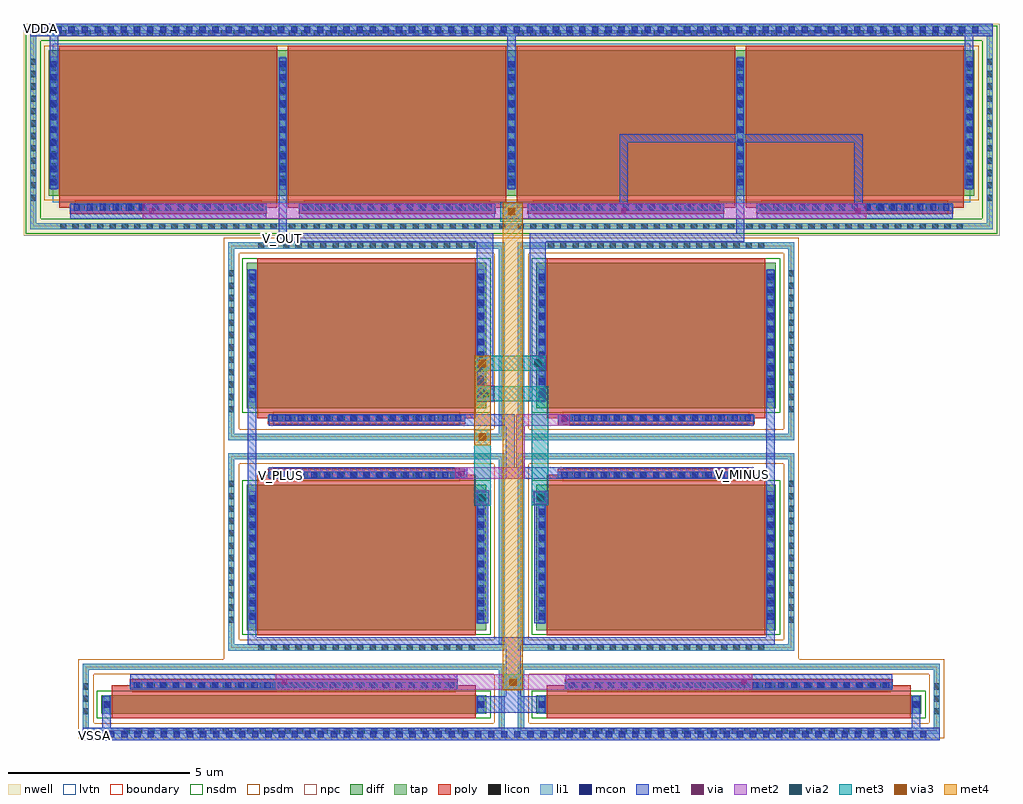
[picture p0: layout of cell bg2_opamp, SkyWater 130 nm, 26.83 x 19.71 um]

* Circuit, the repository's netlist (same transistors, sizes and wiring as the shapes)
* SPICE3 file created from bg2_opamp_lvs.ext - technology: sky130A

X0 vb vb VDDA VDDA sky130_fd_pr__pfet_01v8_lvt ad=1.16 pd=8.58 as=1.16 ps=8.58 w=4 l=6
X1 VDDA vb V_OUT VDDA sky130_fd_pr__pfet_01v8_lvt ad=3.48003 pd=25.745 as=1.16003 ps=8.585 w=4 l=6
X2 V_OUT vb VDDA VDDA sky130_fd_pr__pfet_01v8_lvt ad=1.16 pd=8.58 as=1.16 ps=8.58 w=4 l=6
X3 vb V_PLUS vs VSSA sky130_fd_pr__nfet_01v8 ad=1.16 pd=8.58 as=1.16 ps=8.58 w=4 l=6
X4 vs V_PLUS vb VSSA sky130_fd_pr__nfet_01v8 ad=1.16 pd=8.58 as=1.16 ps=8.58 w=4 l=6
X5 VDDA vb vb VDDA sky130_fd_pr__pfet_01v8_lvt ad=1.16 pd=8.58 as=1.16 ps=8.58 w=4 l=6
X6 V_OUT V_MINUS vs VSSA sky130_fd_pr__nfet_01v8 ad=1.16 pd=8.58 as=1.16 ps=8.58 w=4 l=6
X7 vs V_MINUS V_OUT VSSA sky130_fd_pr__nfet_01v8 ad=1.16 pd=8.58 as=1.16 ps=8.58 w=4 l=6
X8 VSSA vb vs VSSA sky130_fd_pr__nfet_01v8 ad=0.145 pd=1.58 as=0.145 ps=1.58 w=0.5 l=10
X9 vs vb VSSA VSSA sky130_fd_pr__nfet_01v8 ad=0.145 pd=1.58 as=0.145 ps=1.58 w=0.5 l=10

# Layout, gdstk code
import gdstk
lib = gdstk.Library(unit=1e-6, precision=1e-09)
def R(c, l, rs):  # rectangles x0, y0, x1, y1
    for r in rs: c.add(gdstk.rectangle(r[:2], r[2:], *l))
def A(c, l, x, y, w, h, nx, ny, dx, dy):  # array of equal rectangles
    R(c, l, [(x+i*dx, y+j*dy, x+i*dx+w, y+j*dy+h) for i in range(nx) for j in range(ny)])
nwell = (64, 20)
diff = (65, 20)
tap = (65, 44)
poly = (66, 20)
licon = (66, 44)
li1 = (67, 20)
mcon = (67, 44)
met1 = (68, 20)
via = (68, 44)
met2 = (69, 20)
via2 = (69, 44)
met3 = (70, 20)
via3 = (70, 44)
met4 = (71, 20)
nsdm = (93, 44)
psdm = (94, 20)
npc = (95, 20)
lvtn = (125, 44)
boundary = (235, 4)

sky130_fd_pr__nfet_01v8_ = lib.new_cell('sky130_fd_pr__nfet_01v8_ETYVHX')
R(sky130_fd_pr__nfet_01v8_, diff, [(-5.29,-0.405,5.29,0.095)])
R(sky130_fd_pr__nfet_01v8_, tap, [(-5.8,-0.965,5.8,-0.795), (-5.8,-0.795,-5.63,0.795), (5.63,-0.795,5.8,0.795), (-5.8,0.795,5.8,0.965)])
R(sky130_fd_pr__nfet_01v8_, poly, [(-5,-0.535,5,0.37), (-4.51,0.37,4.51,0.535)])
A(sky130_fd_pr__nfet_01v8_, licon, -4.675, -0.965, 0.17, 0.17, 28, 1, 0.34, 0)
A(sky130_fd_pr__nfet_01v8_, licon, -5.8, -0.425, 0.17, 0.17, 1, 3, 0, 0.34)
A(sky130_fd_pr__nfet_01v8_, licon, -4.335, 0.285, 0.17, 0.17, 26, 1, 0.34, 0)
R(sky130_fd_pr__nfet_01v8_, licon, [(-5.23,-0.24,-5.06,-0.07), (5.06,-0.24,5.23,-0.07)])
R(sky130_fd_pr__nfet_01v8_, li1, [(-5.8,-0.965,5.8,-0.795), (-5.8,-0.795,-5.63,0.795), (5.63,-0.795,5.8,0.795), (-5.23,-0.405,-5.06,0.095), (5.06,-0.405,5.23,0.095), (-4.51,0.285,4.51,0.455), (-5.8,0.795,5.8,0.965)])
A(sky130_fd_pr__nfet_01v8_, mcon, -4.405, 0.285, 0.17, 0.17, 25, 1, 0.36, 0)
R(sky130_fd_pr__nfet_01v8_, mcon, [(-5.23,-0.24,-5.06,-0.07), (5.06,-0.24,5.23,-0.07)])
R(sky130_fd_pr__nfet_01v8_, met1, [(-5.26,-0.385,-5.03,0.075), (5.03,-0.385,5.26,0.075), (-4.49,0.255,4.49,0.485)])
R(sky130_fd_pr__nfet_01v8_, nsdm, [(-5.415,-0.53,5.415,0.22)])
R(sky130_fd_pr__nfet_01v8_, psdm, [(-5.925,-1.09,5.925,-0.67), (-5.925,-0.67,-5.505,0.67), (5.505,-0.67,5.925,0.67), (-5.925,0.67,5.925,1.09)])
R(sky130_fd_pr__nfet_01v8_, npc, [(-4.435,0.185,4.435,0.555)])
R(sky130_fd_pr__nfet_01v8_, boundary, [(-5.715,-0.88,5.715,0.88)])
sky130_fd_pr__nfet_01v8_.add(gdstk.Label('B', (0,-0.88), layer=67, texttype=5))
sky130_fd_pr__nfet_01v8_.add(gdstk.Label('D', (-5.145,-0.155), layer=67, texttype=5))
sky130_fd_pr__nfet_01v8_.add(gdstk.Label('S', (5.145,-0.155), layer=67, texttype=5))
sky130_fd_pr__nfet_01v8_.add(gdstk.Label('G', (0,0.37), layer=67, texttype=5))

c_sky130_fd_pr__nfet_01v8_ = lib.new_cell('sky130_fd_pr__nfet_01v8_WJUKTK')
R(c_sky130_fd_pr__nfet_01v8_, diff, [(-3.29,-2.155,3.29,1.845)])
R(c_sky130_fd_pr__nfet_01v8_, tap, [(-3.8,-2.715,3.8,-2.545), (-3.8,-2.545,-3.63,2.545), (3.63,-2.545,3.8,2.545), (-3.8,2.545,3.8,2.715)])
R(c_sky130_fd_pr__nfet_01v8_, poly, [(-3,-2.285,3,2.12), (-2.71,2.12,2.71,2.285)])
A(c_sky130_fd_pr__nfet_01v8_, licon, -2.975, -2.715, 0.17, 0.17, 18, 1, 0.34, 0)
A(c_sky130_fd_pr__nfet_01v8_, licon, -3.8, -1.955, 0.17, 0.17, 1, 12, 0, 0.34)
A(c_sky130_fd_pr__nfet_01v8_, licon, -3.23, -1.77, 0.17, 0.17, 1, 10, 0, 0.34)
A(c_sky130_fd_pr__nfet_01v8_, licon, 3.06, -1.77, 0.17, 0.17, 1, 10, 0, 0.34)
A(c_sky130_fd_pr__nfet_01v8_, licon, -2.465, 2.035, 0.17, 0.17, 15, 1, 0.34, 0)
R(c_sky130_fd_pr__nfet_01v8_, li1, [(-3.8,-2.715,3.8,-2.545), (-3.8,-2.545,-3.63,2.545), (3.63,-2.545,3.8,2.545), (-3.23,-1.98,-3.06,1.67), (3.06,-1.98,3.23,1.67), (-2.71,2.035,2.71,2.205), (-3.8,2.545,3.8,2.715)])
A(c_sky130_fd_pr__nfet_01v8_, mcon, -3.23, -1.86, 0.17, 0.17, 1, 10, 0, 0.36)
A(c_sky130_fd_pr__nfet_01v8_, mcon, 3.06, -1.86, 0.17, 0.17, 1, 10, 0, 0.36)
A(c_sky130_fd_pr__nfet_01v8_, mcon, -2.605, 2.035, 0.17, 0.17, 15, 1, 0.36, 0)
R(c_sky130_fd_pr__nfet_01v8_, met1, [(-3.26,-1.96,-3.03,1.65), (3.03,-1.96,3.26,1.65), (-2.69,2.005,2.69,2.235)])
R(c_sky130_fd_pr__nfet_01v8_, nsdm, [(-3.415,-2.28,3.415,1.97)])
R(c_sky130_fd_pr__nfet_01v8_, psdm, [(-3.925,-2.84,3.925,-2.42), (-3.925,-2.42,-3.505,2.42), (3.505,-2.42,3.925,2.42), (-3.925,2.42,3.925,2.84)])
R(c_sky130_fd_pr__nfet_01v8_, npc, [(-2.565,1.935,2.565,2.305)])
R(c_sky130_fd_pr__nfet_01v8_, boundary, [(-3.715,-2.63,3.715,2.63)])
c_sky130_fd_pr__nfet_01v8_.add(gdstk.Label('B', (0,-2.63), layer=67, texttype=5))
c_sky130_fd_pr__nfet_01v8_.add(gdstk.Label('D', (-3.145,-0.155), layer=67, texttype=5))
c_sky130_fd_pr__nfet_01v8_.add(gdstk.Label('S', (3.145,-0.155), layer=67, texttype=5))
c_sky130_fd_pr__nfet_01v8_.add(gdstk.Label('G', (0,2.12), layer=67, texttype=5))

c_sky130_fd_pr__nfet_01v8__ = lib.new_cell('sky130_fd_pr__nfet_01v8_4D5ERS')
R(c_sky130_fd_pr__nfet_01v8__, diff, [(-5.29,-0.405,5.29,0.095)])
R(c_sky130_fd_pr__nfet_01v8__, tap, [(-5.8,-0.965,5.8,-0.795), (-5.8,-0.795,-5.63,0.795), (5.63,-0.795,5.8,0.795), (-5.8,0.795,5.8,0.965)])
R(c_sky130_fd_pr__nfet_01v8__, poly, [(-5,-0.535,5,0.37), (-4.51,0.37,4.51,0.535)])
A(c_sky130_fd_pr__nfet_01v8__, licon, -4.675, -0.965, 0.17, 0.17, 28, 1, 0.34, 0)
A(c_sky130_fd_pr__nfet_01v8__, licon, 5.63, -0.425, 0.17, 0.17, 1, 3, 0, 0.34)
A(c_sky130_fd_pr__nfet_01v8__, licon, -4.335, 0.285, 0.17, 0.17, 26, 1, 0.34, 0)
R(c_sky130_fd_pr__nfet_01v8__, licon, [(-5.23,-0.24,-5.06,-0.07), (5.06,-0.24,5.23,-0.07)])
R(c_sky130_fd_pr__nfet_01v8__, li1, [(-5.8,-0.965,5.8,-0.795), (-5.8,-0.795,-5.63,0.795), (5.63,-0.795,5.8,0.795), (-5.23,-0.405,-5.06,0.095), (5.06,-0.405,5.23,0.095), (-4.51,0.285,4.51,0.455), (-5.8,0.795,5.8,0.965)])
A(c_sky130_fd_pr__nfet_01v8__, mcon, -4.405, 0.285, 0.17, 0.17, 25, 1, 0.36, 0)
R(c_sky130_fd_pr__nfet_01v8__, mcon, [(-5.23,-0.24,-5.06,-0.07), (5.06,-0.24,5.23,-0.07)])
R(c_sky130_fd_pr__nfet_01v8__, met1, [(-5.26,-0.385,-5.03,0.075), (5.03,-0.385,5.26,0.075), (-4.49,0.255,4.49,0.485)])
R(c_sky130_fd_pr__nfet_01v8__, nsdm, [(-5.415,-0.53,5.415,0.22)])
R(c_sky130_fd_pr__nfet_01v8__, psdm, [(-5.925,-1.09,5.925,-0.67), (-5.925,-0.67,-5.505,0.67), (5.505,-0.67,5.925,0.67), (-5.925,0.67,5.925,1.09)])
R(c_sky130_fd_pr__nfet_01v8__, npc, [(-4.435,0.185,4.435,0.555)])
R(c_sky130_fd_pr__nfet_01v8__, boundary, [(-5.715,-0.88,5.715,0.88)])
c_sky130_fd_pr__nfet_01v8__.add(gdstk.Label('B', (0,-0.88), layer=67, texttype=5))
c_sky130_fd_pr__nfet_01v8__.add(gdstk.Label('D', (-5.145,-0.155), layer=67, texttype=5))
c_sky130_fd_pr__nfet_01v8__.add(gdstk.Label('S', (5.145,-0.155), layer=67, texttype=5))
c_sky130_fd_pr__nfet_01v8__.add(gdstk.Label('G', (0,0.37), layer=67, texttype=5))

c_sky130_fd_pr__nfet_01v8___ = lib.new_cell('sky130_fd_pr__nfet_01v8_BSBCF3')
R(c_sky130_fd_pr__nfet_01v8___, diff, [(-3.29,-2.155,3.29,1.845)])
R(c_sky130_fd_pr__nfet_01v8___, tap, [(-3.8,-2.715,3.8,-2.545), (-3.8,-2.545,-3.63,2.545), (3.63,-2.545,3.8,2.545), (-3.8,2.545,3.8,2.715)])
R(c_sky130_fd_pr__nfet_01v8___, poly, [(-3,-2.285,3,2.12), (-2.71,2.12,2.71,2.285)])
A(c_sky130_fd_pr__nfet_01v8___, licon, -2.975, -2.715, 0.17, 0.17, 18, 1, 0.34, 0)
A(c_sky130_fd_pr__nfet_01v8___, licon, 3.63, -1.955, 0.17, 0.17, 1, 12, 0, 0.34)
A(c_sky130_fd_pr__nfet_01v8___, licon, -3.23, -1.77, 0.17, 0.17, 1, 10, 0, 0.34)
A(c_sky130_fd_pr__nfet_01v8___, licon, 3.06, -1.77, 0.17, 0.17, 1, 10, 0, 0.34)
A(c_sky130_fd_pr__nfet_01v8___, licon, -2.465, 2.035, 0.17, 0.17, 15, 1, 0.34, 0)
R(c_sky130_fd_pr__nfet_01v8___, li1, [(-3.8,-2.715,3.8,-2.545), (-3.8,-2.545,-3.63,2.545), (3.63,-2.545,3.8,2.545), (-3.23,-1.98,-3.06,1.67), (3.06,-1.98,3.23,1.67), (-2.71,2.035,2.71,2.205), (-3.8,2.545,3.8,2.715)])
A(c_sky130_fd_pr__nfet_01v8___, mcon, -3.23, -1.86, 0.17, 0.17, 1, 10, 0, 0.36)
A(c_sky130_fd_pr__nfet_01v8___, mcon, 3.06, -1.86, 0.17, 0.17, 1, 10, 0, 0.36)
A(c_sky130_fd_pr__nfet_01v8___, mcon, -2.605, 2.035, 0.17, 0.17, 15, 1, 0.36, 0)
R(c_sky130_fd_pr__nfet_01v8___, met1, [(-3.26,-1.96,-3.03,1.65), (3.03,-1.96,3.26,1.65), (-2.69,2.005,2.69,2.235)])
R(c_sky130_fd_pr__nfet_01v8___, nsdm, [(-3.415,-2.28,3.415,1.97)])
R(c_sky130_fd_pr__nfet_01v8___, psdm, [(-3.925,-2.84,3.925,-2.42), (-3.925,-2.42,-3.505,2.42), (3.505,-2.42,3.925,2.42), (-3.925,2.42,3.925,2.84)])
R(c_sky130_fd_pr__nfet_01v8___, npc, [(-2.565,1.935,2.565,2.305)])
R(c_sky130_fd_pr__nfet_01v8___, boundary, [(-3.715,-2.63,3.715,2.63)])
c_sky130_fd_pr__nfet_01v8___.add(gdstk.Label('B', (0,-2.63), layer=67, texttype=5))
c_sky130_fd_pr__nfet_01v8___.add(gdstk.Label('D', (-3.145,-0.155), layer=67, texttype=5))
c_sky130_fd_pr__nfet_01v8___.add(gdstk.Label('S', (3.145,-0.155), layer=67, texttype=5))
c_sky130_fd_pr__nfet_01v8___.add(gdstk.Label('G', (0,2.12), layer=67, texttype=5))

c_sky130_fd_pr__nfet_01v8____ = lib.new_cell('sky130_fd_pr__nfet_01v8_62AQFM')
R(c_sky130_fd_pr__nfet_01v8____, diff, [(-3.29,-1.845,3.29,2.155)])
R(c_sky130_fd_pr__nfet_01v8____, tap, [(-3.8,-2.715,3.8,-2.545), (-3.8,-2.545,-3.63,2.545), (3.63,-2.545,3.8,2.545), (-3.8,2.545,3.8,2.715)])
R(c_sky130_fd_pr__nfet_01v8____, poly, [(-2.71,-2.285,2.71,-2.12), (-3,-2.12,3,2.285)])
A(c_sky130_fd_pr__nfet_01v8____, licon, -2.465, -2.205, 0.17, 0.17, 15, 1, 0.34, 0)
A(c_sky130_fd_pr__nfet_01v8____, licon, -3.8, -1.955, 0.17, 0.17, 1, 12, 0, 0.34)
A(c_sky130_fd_pr__nfet_01v8____, licon, -3.23, -1.46, 0.17, 0.17, 1, 10, 0, 0.34)
A(c_sky130_fd_pr__nfet_01v8____, licon, 3.06, -1.46, 0.17, 0.17, 1, 10, 0, 0.34)
A(c_sky130_fd_pr__nfet_01v8____, licon, -2.975, 2.545, 0.17, 0.17, 18, 1, 0.34, 0)
R(c_sky130_fd_pr__nfet_01v8____, li1, [(-3.8,-2.715,3.8,-2.545), (-3.8,-2.545,-3.63,2.545), (3.63,-2.545,3.8,2.545), (-2.71,-2.205,2.71,-2.035), (-3.23,-1.67,-3.06,1.98), (3.06,-1.67,3.23,1.98), (-3.8,2.545,3.8,2.715)])
A(c_sky130_fd_pr__nfet_01v8____, mcon, -2.605, -2.205, 0.17, 0.17, 15, 1, 0.36, 0)
A(c_sky130_fd_pr__nfet_01v8____, mcon, -3.23, -1.55, 0.17, 0.17, 1, 10, 0, 0.36)
A(c_sky130_fd_pr__nfet_01v8____, mcon, 3.06, -1.55, 0.17, 0.17, 1, 10, 0, 0.36)
R(c_sky130_fd_pr__nfet_01v8____, met1, [(-2.69,-2.235,2.69,-2.005), (-3.26,-1.65,-3.03,1.96), (3.03,-1.65,3.26,1.96)])
R(c_sky130_fd_pr__nfet_01v8____, nsdm, [(-3.415,-1.97,3.415,2.28)])
R(c_sky130_fd_pr__nfet_01v8____, psdm, [(-3.925,-2.84,3.925,-2.42), (-3.925,-2.42,-3.505,2.42), (3.505,-2.42,3.925,2.42), (-3.925,2.42,3.925,2.84)])
R(c_sky130_fd_pr__nfet_01v8____, npc, [(-2.565,-2.305,2.565,-1.935)])
R(c_sky130_fd_pr__nfet_01v8____, boundary, [(-3.715,-2.63,3.715,2.63)])
c_sky130_fd_pr__nfet_01v8____.add(gdstk.Label('B', (0,-2.63), layer=65, texttype=5))
c_sky130_fd_pr__nfet_01v8____.add(gdstk.Label('D', (-3.145,0.155), layer=67, texttype=5))
c_sky130_fd_pr__nfet_01v8____.add(gdstk.Label('S', (3.145,0.155), layer=67, texttype=5))
c_sky130_fd_pr__nfet_01v8____.add(gdstk.Label('G', (0,-2.12), layer=67, texttype=5))

c_sky130_fd_pr__nfet_01v8_____ = lib.new_cell('sky130_fd_pr__nfet_01v8_Y4G2KK')
R(c_sky130_fd_pr__nfet_01v8_____, diff, [(-3.29,-1.845,3.29,2.155)])
R(c_sky130_fd_pr__nfet_01v8_____, tap, [(-3.8,-2.715,3.8,-2.545), (-3.8,-2.545,-3.63,2.545), (3.63,-2.545,3.8,2.545), (-3.8,2.545,3.8,2.715)])
R(c_sky130_fd_pr__nfet_01v8_____, poly, [(-2.71,-2.285,2.71,-2.12), (-3,-2.12,3,2.285)])
A(c_sky130_fd_pr__nfet_01v8_____, licon, -2.465, -2.205, 0.17, 0.17, 15, 1, 0.34, 0)
A(c_sky130_fd_pr__nfet_01v8_____, licon, 3.63, -1.955, 0.17, 0.17, 1, 12, 0, 0.34)
A(c_sky130_fd_pr__nfet_01v8_____, licon, -3.23, -1.46, 0.17, 0.17, 1, 10, 0, 0.34)
A(c_sky130_fd_pr__nfet_01v8_____, licon, 3.06, -1.46, 0.17, 0.17, 1, 10, 0, 0.34)
A(c_sky130_fd_pr__nfet_01v8_____, licon, -2.975, 2.545, 0.17, 0.17, 18, 1, 0.34, 0)
R(c_sky130_fd_pr__nfet_01v8_____, li1, [(-3.8,-2.715,3.8,-2.545), (-3.8,-2.545,-3.63,2.545), (3.63,-2.545,3.8,2.545), (-2.71,-2.205,2.71,-2.035), (-3.23,-1.67,-3.06,1.98), (3.06,-1.67,3.23,1.98), (-3.8,2.545,3.8,2.715)])
A(c_sky130_fd_pr__nfet_01v8_____, mcon, -2.605, -2.205, 0.17, 0.17, 15, 1, 0.36, 0)
A(c_sky130_fd_pr__nfet_01v8_____, mcon, -3.23, -1.55, 0.17, 0.17, 1, 10, 0, 0.36)
A(c_sky130_fd_pr__nfet_01v8_____, mcon, 3.06, -1.55, 0.17, 0.17, 1, 10, 0, 0.36)
R(c_sky130_fd_pr__nfet_01v8_____, met1, [(-2.69,-2.235,2.69,-2.005), (-3.26,-1.65,-3.03,1.96), (3.03,-1.65,3.26,1.96)])
R(c_sky130_fd_pr__nfet_01v8_____, nsdm, [(-3.415,-1.97,3.415,2.28)])
R(c_sky130_fd_pr__nfet_01v8_____, psdm, [(-3.925,-2.84,3.925,-2.42), (-3.925,-2.42,-3.505,2.42), (3.505,-2.42,3.925,2.42), (-3.925,2.42,3.925,2.84)])
R(c_sky130_fd_pr__nfet_01v8_____, npc, [(-2.565,-2.305,2.565,-1.935)])
R(c_sky130_fd_pr__nfet_01v8_____, boundary, [(-3.715,-2.63,3.715,2.63)])
c_sky130_fd_pr__nfet_01v8_____.add(gdstk.Label('B', (0,-2.63), layer=65, texttype=5))
c_sky130_fd_pr__nfet_01v8_____.add(gdstk.Label('D', (-3.145,0.155), layer=67, texttype=5))
c_sky130_fd_pr__nfet_01v8_____.add(gdstk.Label('S', (3.145,0.155), layer=67, texttype=5))
c_sky130_fd_pr__nfet_01v8_____.add(gdstk.Label('G', (0,-2.12), layer=67, texttype=5))

sky130_fd_pr__pfet_01v8_ = lib.new_cell('sky130_fd_pr__pfet_01v8_lvt_M3C57C')
R(sky130_fd_pr__pfet_01v8_, nwell, [(-3.98,-2.92,3.29,2.92)])
R(sky130_fd_pr__pfet_01v8_, diff, [(-3.29,-1.82,3.29,2.18)])
R(sky130_fd_pr__pfet_01v8_, tap, [(-3.8,-2.74,3.29,-2.57), (-3.8,-2.57,-3.63,2.57), (-3.8,2.57,3.29,2.74)])
R(sky130_fd_pr__pfet_01v8_, poly, [(-2.71,-2.305,2.71,-2.14), (-3,-2.14,3,2.31)])
A(sky130_fd_pr__pfet_01v8_, licon, -2.975, -2.74, 0.17, 0.17, 18, 2, 0.34, 5.31)
A(sky130_fd_pr__pfet_01v8_, licon, -2.465, -2.225, 0.17, 0.17, 15, 1, 0.34, 0)
A(sky130_fd_pr__pfet_01v8_, licon, -3.8, -1.955, 0.17, 0.17, 1, 12, 0, 0.34)
A(sky130_fd_pr__pfet_01v8_, licon, -3.23, -1.435, 0.17, 0.17, 1, 10, 0, 0.34)
A(sky130_fd_pr__pfet_01v8_, licon, 3.06, -1.435, 0.17, 0.17, 1, 10, 0, 0.34)
R(sky130_fd_pr__pfet_01v8_, li1, [(-3.8,-2.74,3.29,-2.57), (-3.8,-2.57,-3.63,2.57), (-2.71,-2.225,2.71,-2.055), (-3.23,-1.645,-3.06,2.005), (3.06,-1.645,3.23,2.005), (-3.8,2.57,3.29,2.74)])
A(sky130_fd_pr__pfet_01v8_, mcon, -2.605, -2.225, 0.17, 0.17, 15, 1, 0.36, 0)
A(sky130_fd_pr__pfet_01v8_, mcon, -3.23, -1.525, 0.17, 0.17, 1, 10, 0, 0.36)
A(sky130_fd_pr__pfet_01v8_, mcon, 3.06, -1.525, 0.17, 0.17, 1, 10, 0, 0.36)
R(sky130_fd_pr__pfet_01v8_, met1, [(-2.69,-2.255,2.69,-2.025), (-3.26,-1.625,-3.03,1.985), (3.03,-1.625,3.26,1.985)])
R(sky130_fd_pr__pfet_01v8_, nsdm, [(-3.925,-2.865,3.415,-2.445), (-3.925,-2.445,-3.505,2.445), (-3.925,2.445,3.415,2.865)])
R(sky130_fd_pr__pfet_01v8_, psdm, [(-3.415,-1.945,3.415,2.305)])
R(sky130_fd_pr__pfet_01v8_, npc, [(-2.565,-2.325,2.565,-1.955)])
R(sky130_fd_pr__pfet_01v8_, lvtn, [(-3.18,-2,3.18,2.36)])
R(sky130_fd_pr__pfet_01v8_, boundary, [(-3.715,-2.655,3.715,2.655)])
sky130_fd_pr__pfet_01v8_.add(gdstk.Label('B', (0,-2.655), layer=67, texttype=5))
sky130_fd_pr__pfet_01v8_.add(gdstk.Label('D', (-3.145,0.18), layer=67, texttype=5))
sky130_fd_pr__pfet_01v8_.add(gdstk.Label('S', (3.145,0.18), layer=67, texttype=5))
sky130_fd_pr__pfet_01v8_.add(gdstk.Label('G', (0,-2.14), layer=67, texttype=5))

c_sky130_fd_pr__pfet_01v8_ = lib.new_cell('sky130_fd_pr__pfet_01v8_lvt_ZZFS9H')
R(c_sky130_fd_pr__pfet_01v8_, nwell, [(-3.29,-2.92,3.29,2.92)])
R(c_sky130_fd_pr__pfet_01v8_, diff, [(-3.29,-1.82,3.29,2.18)])
R(c_sky130_fd_pr__pfet_01v8_, tap, [(-3.29,-2.74,3.29,-2.57), (-3.29,2.57,3.29,2.74)])
R(c_sky130_fd_pr__pfet_01v8_, poly, [(-2.71,-2.305,2.71,-2.14), (-3,-2.14,3,2.31)])
A(c_sky130_fd_pr__pfet_01v8_, licon, -2.975, -2.74, 0.17, 0.17, 18, 2, 0.34, 5.31)
A(c_sky130_fd_pr__pfet_01v8_, licon, -2.465, -2.225, 0.17, 0.17, 15, 1, 0.34, 0)
A(c_sky130_fd_pr__pfet_01v8_, licon, -3.23, -1.435, 0.17, 0.17, 1, 10, 0, 0.34)
A(c_sky130_fd_pr__pfet_01v8_, licon, 3.06, -1.435, 0.17, 0.17, 1, 10, 0, 0.34)
R(c_sky130_fd_pr__pfet_01v8_, li1, [(-3.29,-2.74,3.29,-2.57), (-2.71,-2.225,2.71,-2.055), (-3.23,-1.645,-3.06,2.005), (3.06,-1.645,3.23,2.005), (-3.29,2.57,3.29,2.74)])
A(c_sky130_fd_pr__pfet_01v8_, mcon, -2.605, -2.225, 0.17, 0.17, 15, 1, 0.36, 0)
A(c_sky130_fd_pr__pfet_01v8_, mcon, -3.23, -1.525, 0.17, 0.17, 1, 10, 0, 0.36)
A(c_sky130_fd_pr__pfet_01v8_, mcon, 3.06, -1.525, 0.17, 0.17, 1, 10, 0, 0.36)
R(c_sky130_fd_pr__pfet_01v8_, met1, [(-2.69,-2.255,2.69,-2.025), (-3.26,-1.625,-3.03,1.985), (3.03,-1.625,3.26,1.985)])
R(c_sky130_fd_pr__pfet_01v8_, nsdm, [(-3.415,-2.865,3.415,-2.445), (-3.415,2.445,3.415,2.865)])
R(c_sky130_fd_pr__pfet_01v8_, psdm, [(-3.415,-1.945,3.415,2.305)])
R(c_sky130_fd_pr__pfet_01v8_, npc, [(-2.565,-2.325,2.565,-1.955)])
R(c_sky130_fd_pr__pfet_01v8_, lvtn, [(-3.18,-2,3.18,2.36)])
R(c_sky130_fd_pr__pfet_01v8_, boundary, [(-3.715,-2.655,3.715,2.655)])
c_sky130_fd_pr__pfet_01v8_.add(gdstk.Label('B', (0,-2.655), layer=67, texttype=5))
c_sky130_fd_pr__pfet_01v8_.add(gdstk.Label('D', (-3.145,0.18), layer=67, texttype=5))
c_sky130_fd_pr__pfet_01v8_.add(gdstk.Label('S', (3.145,0.18), layer=67, texttype=5))
c_sky130_fd_pr__pfet_01v8_.add(gdstk.Label('G', (0,-2.14), layer=67, texttype=5))

c_sky130_fd_pr__pfet_01v8__ = lib.new_cell('sky130_fd_pr__pfet_01v8_lvt_ATKBUG')
R(c_sky130_fd_pr__pfet_01v8__, nwell, [(-3.29,-2.92,3.98,2.92)])
R(c_sky130_fd_pr__pfet_01v8__, diff, [(-3.29,-1.82,3.29,2.18)])
R(c_sky130_fd_pr__pfet_01v8__, tap, [(-3.29,-2.74,3.8,-2.57), (3.63,-2.57,3.8,2.57), (-3.29,2.57,3.8,2.74)])
R(c_sky130_fd_pr__pfet_01v8__, poly, [(-2.71,-2.305,2.71,-2.14), (-3,-2.14,3,2.31)])
A(c_sky130_fd_pr__pfet_01v8__, licon, -2.975, -2.74, 0.17, 0.17, 18, 2, 0.34, 5.31)
A(c_sky130_fd_pr__pfet_01v8__, licon, -2.465, -2.225, 0.17, 0.17, 15, 1, 0.34, 0)
A(c_sky130_fd_pr__pfet_01v8__, licon, 3.63, -1.955, 0.17, 0.17, 1, 12, 0, 0.34)
A(c_sky130_fd_pr__pfet_01v8__, licon, -3.23, -1.435, 0.17, 0.17, 1, 10, 0, 0.34)
A(c_sky130_fd_pr__pfet_01v8__, licon, 3.06, -1.435, 0.17, 0.17, 1, 10, 0, 0.34)
R(c_sky130_fd_pr__pfet_01v8__, li1, [(-3.29,-2.74,3.8,-2.57), (3.63,-2.57,3.8,2.57), (-2.71,-2.225,2.71,-2.055), (-3.23,-1.645,-3.06,2.005), (3.06,-1.645,3.23,2.005), (-3.29,2.57,3.8,2.74)])
A(c_sky130_fd_pr__pfet_01v8__, mcon, -2.605, -2.225, 0.17, 0.17, 15, 1, 0.36, 0)
A(c_sky130_fd_pr__pfet_01v8__, mcon, -3.23, -1.525, 0.17, 0.17, 1, 10, 0, 0.36)
A(c_sky130_fd_pr__pfet_01v8__, mcon, 3.06, -1.525, 0.17, 0.17, 1, 10, 0, 0.36)
R(c_sky130_fd_pr__pfet_01v8__, met1, [(-2.69,-2.255,2.69,-2.025), (-3.26,-1.625,-3.03,1.985), (3.03,-1.625,3.26,1.985)])
R(c_sky130_fd_pr__pfet_01v8__, nsdm, [(-3.415,-2.865,3.925,-2.445), (3.505,-2.445,3.925,2.445), (-3.415,2.445,3.925,2.865)])
R(c_sky130_fd_pr__pfet_01v8__, psdm, [(-3.415,-1.945,3.415,2.305)])
R(c_sky130_fd_pr__pfet_01v8__, npc, [(-2.565,-2.325,2.565,-1.955)])
R(c_sky130_fd_pr__pfet_01v8__, lvtn, [(-3.18,-2,3.18,2.36)])
R(c_sky130_fd_pr__pfet_01v8__, boundary, [(-3.715,-2.655,3.715,2.655)])
c_sky130_fd_pr__pfet_01v8__.add(gdstk.Label('B', (0,-2.655), layer=67, texttype=5))
c_sky130_fd_pr__pfet_01v8__.add(gdstk.Label('D', (-3.145,0.18), layer=67, texttype=5))
c_sky130_fd_pr__pfet_01v8__.add(gdstk.Label('S', (3.145,0.18), layer=67, texttype=5))
c_sky130_fd_pr__pfet_01v8__.add(gdstk.Label('G', (0,-2.14), layer=67, texttype=5))

bg2_opamp = lib.new_cell('bg2_opamp')
R(bg2_opamp, li1, [(-2.965,-15.58,20.595,-15.23), (-4.415,3.78,22.055,4.13)])
A(bg2_opamp, mcon, -2.625, -15.495, 0.17, 0.17, 64, 1, 0.36, 0)
A(bg2_opamp, mcon, -4.08, 3.875, 0.17, 0.17, 72, 1, 0.36, 0)
A(bg2_opamp, met1, -3.305, -1.24, 5.38, 0.265, 4, 1, 6.29, 0)
A(bg2_opamp, met1, -3.875, -0.415, 0.23, 4.195, 3, 1, 12.58, 0)
R(bg2_opamp, met1, [(-2.965,-15.58,20.595,-15.23), (-2.425,-15.23,-2.195,-14.62), (19.825,-15.23,20.055,-14.625), (7.865,-14.82,9.765,-14.36), (8.665,-14.36,9.075,-12.945), (2.34,-14.18,2.81,-14.065), (10.305,-14.18,19.285,-13.755), (-1.655,-14.065,7.325,-13.755), (1.575,-12.945,16.055,-12.735), (1.575,-12.735,1.805,-12.325), (15.825,-12.735,16.055,-12.325), (8.04,-12.355,8.185,-9.07), (9.445,-12.355,9.59,-9.065), (7.865,-9.07,8.185,-8.745), (9.445,-9.065,9.765,-8.745), (15.825,-8.895,16.055,-5.935), (1.575,-8.86,1.805,-5.9), (2.145,-8.39,7.6,-8.075), (8.665,-8.39,15.485,-8.075), (8.665,-8.075,8.91,-6.925), (2.145,-6.925,8.91,-6.61), (10.105,-6.925,15.485,-6.61), (7.865,-6.255,8.325,-5.835), (9.315,-6.255,9.6,-5.41), (8.075,-5.835,8.325,-2.665), (9.315,-5.41,9.765,-5.01), (9.315,-5.01,9.6,-2.66), (7.865,-2.665,8.325,-1.87), (9.315,-2.66,9.765,-1.87), (2.415,-1.87,8.325,-1.64), (9.315,-1.87,15.225,-1.64), (2.415,-1.64,2.645,-0.175), (14.995,-1.64,15.225,0.86), (-1.315,-0.975,-0.845,-0.815), (5.475,-0.975,5.945,-0.815), (11.67,-0.975,12.14,-0.815), (18.105,-0.975,18.575,-0.815), (11.79,-0.815,12.02,0.86), (18.245,-0.815,18.475,0.86), (11.79,0.86,18.475,1.09), (14.995,1.09,15.225,3.195), (-4.415,3.78,22.055,4.13)])
R(bg2_opamp, via, [(2.5,-14.04,2.65,-13.89), (15.135,-14.04,15.285,-13.89), (7.95,-8.985,8.1,-8.835), (9.53,-8.985,9.68,-8.835), (7.365,-8.315,7.515,-8.165), (10.19,-6.83,10.34,-6.68), (8.03,-6.12,8.18,-5.97), (9.47,-5.28,9.62,-5.13), (-1.155,-1.105,-1.005,-0.955), (5.645,-1.105,5.795,-0.955), (11.825,-1.105,11.975,-0.955), (18.27,-1.105,18.42,-0.955)])
R(bg2_opamp, met2, [(2.34,-14.18,15.44,-13.755), (7.84,-9.095,8.21,-8.705), (9.415,-9.085,9.8,-8.715), (7.28,-8.39,9.19,-8.075), (8.945,-8.075,9.19,-6.925), (8.945,-6.925,10.425,-6.61), (7.865,-6.27,8.34,-5.82), (9.32,-5.415,9.78,-5.41), (9.315,-5.41,9.78,-5.01), (9.32,-5.01,9.78,-4.995), (-1.315,-1.24,18.575,-0.815)])
R(bg2_opamp, via2, [(8.765,-14.08,8.965,-13.88), (7.925,-9.01,8.125,-8.81), (9.515,-9,9.715,-8.8), (8.005,-6.145,8.205,-5.945), (9.445,-5.305,9.645,-5.105), (8.72,-1.135,8.92,-0.935)])
R(bg2_opamp, met3, [(8.58,-14.2,9.13,-13.755), (7.8,-9.13,8.25,-7.035), (9.38,-9.11,9.83,-6.255), (7.865,-6.255,9.83,-5.835), (7.8,-5.41,9.765,-5.01), (8.515,-1.32,9.13,-0.78)])
R(bg2_opamp, via3, [(8.765,-14.08,8.965,-13.88), (7.92,-7.34,8.12,-7.14), (7.92,-5.315,8.12,-5.115), (8.72,-1.135,8.92,-0.935)])
R(bg2_opamp, met4, [(8.585,-14.2,9.13,-0.78), (7.8,-7.47,8.25,-5.01)])
R(bg2_opamp, psdm, [(8.76,-15.525,8.87,-13.345), (0.91,-13.345,16.72,-13.235), (8.76,-13.235,8.87,-7.555), (0.91,-7.555,16.72,-7.445), (8.76,-7.445,8.87,-1.765)])
bg2_opamp.add(gdstk.Reference(sky130_fd_pr__nfet_01v8_, (2.835,-14.435)))
bg2_opamp.add(gdstk.Reference(c_sky130_fd_pr__nfet_01v8_, (4.835,-10.395)))
bg2_opamp.add(gdstk.Reference(c_sky130_fd_pr__nfet_01v8__, (14.795,-14.435)))
bg2_opamp.add(gdstk.Reference(c_sky130_fd_pr__nfet_01v8___, (12.795,-10.395)))
bg2_opamp.add(gdstk.Reference(c_sky130_fd_pr__nfet_01v8____, (4.835,-4.605)))
bg2_opamp.add(gdstk.Reference(c_sky130_fd_pr__nfet_01v8_____, (12.795,-4.605)))
bg2_opamp.add(gdstk.Reference(sky130_fd_pr__pfet_01v8_, (-0.615,1.21)))
bg2_opamp.add(gdstk.Reference(c_sky130_fd_pr__pfet_01v8_, (5.675,1.21)))
bg2_opamp.add(gdstk.Reference(c_sky130_fd_pr__pfet_01v8__, (18.255,1.21)))
bg2_opamp.add(gdstk.Reference(c_sky130_fd_pr__pfet_01v8_, (11.965,1.21)))
bg2_opamp.add(gdstk.Label('VDDA', (-4.13,3.995), layer=68, texttype=5))
bg2_opamp.add(gdstk.Label('V_OUT', (2.525,-1.77), layer=68, texttype=5))
bg2_opamp.add(gdstk.Label('V_PLUS', (2.485,-8.29), layer=68, texttype=5))
bg2_opamp.add(gdstk.Label('V_MINUS', (15.175,-8.275), layer=68, texttype=5))
bg2_opamp.add(gdstk.Label('VSSA', (-2.63,-15.44), layer=68, texttype=5))

lib.write_gds('bg2_opamp.gds')
